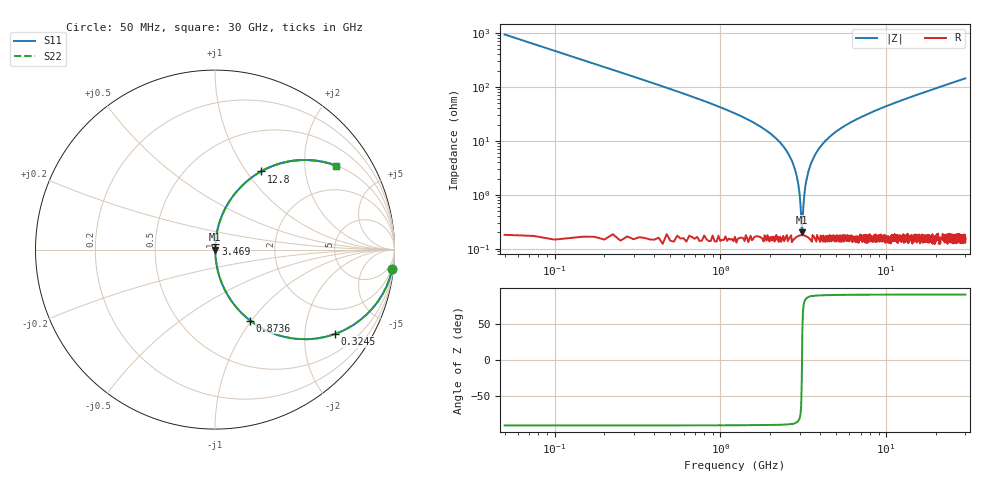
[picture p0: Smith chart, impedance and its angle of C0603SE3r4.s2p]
!	AVX Thin Film Operation 	Date: April 2014
!	Description: Accu-P® Series, Thin Film  SMD RF Capacitor
!	Part Number: 06031J3R4ABSTR
# MHZ S MA R 50
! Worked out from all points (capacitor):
!   1201 points, 50 MHz to 30 GHz, reference 50 ohm
!   read as one part in series: C = 3.4 pF near 199.8 MHz
!   lowest |Z| = 201 mohm at 3.095 GHz (marker M1)
!   series resonance near 3.105 GHz, so ESL is about 770 pH
!   S11 on the Smith chart (normalised r, x): 50 MHz: 1, -19; 324.5 MHz: 1.01, -2.85; 873.6 MHz: 1.00, -0.99; 3.469 GHz: 1.00, +0.07; 12.8 GHz: 1.00, +1.17; 30 GHz: 1.00, +2.88
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50  0.994 -6.1  0.106 83.9  0.106 83.9  0.994 -6.1
324.542  0.818 -35.0  0.574 54.9  0.574 54.9  0.818 -35.0
599.083  0.601 -53.0  0.798 36.9  0.798 36.9  0.601 -53.0
873.625  0.442 -63.6  0.896 26.2  0.896 26.2  0.442 -63.6
1472.625  0.239 -75.8  0.97 13.8  0.97 13.8  0.239 -75.8
2495.917  0.066 -84.9  0.996 3.8  0.996 3.8  0.066 -84.9
2795.417  0.032 -85.4  0.998 1.8  0.998 1.8  0.032 -85.4
2895.25  0.021 -84.6  0.998 1.2  0.998 1.2  0.021 -84.6
2995.083  0.011 -81.2  0.998 0.6  0.998 0.6  0.011 -81.2
3094.917  0.001815 -30.8  0.998 0.1  0.998 0.1  0.001815 -30.8
3194.75  0.008769 79.3  0.998 -0.5  0.998 -0.5  0.008769 79.3
3344.5  0.022 84.7  0.998 -1.3  0.998 -1.3  0.022 84.7
3469.292  0.034 85.4  0.998 -1.9  0.998 -1.9  0.034 85.4
4043.333  0.08 84.3  0.995 -4.6  0.995 -4.6  0.08 84.3
5041.667  0.15 80.8  0.987 -8.6  0.987 -8.6  0.15 80.8
7038.333  0.265 74.3  0.963 -15.4  0.963 -15.4  0.265 74.3
10058.29  0.404 66.0  0.913 -23.8  0.913 -23.8  0.404 66.0
12803.71  0.505 59.5  0.862 -30.3  0.862 -30.3  0.505 59.5
15025  0.572 55.0  0.819 -34.9  0.819 -34.9  0.572 55.0
20016.67  0.688 46.5  0.725 -43.5  0.725 -43.5  0.688 46.5
25033.29  0.767 39.8  0.641 -50.1  0.641 -50.1  0.767 39.8
30000  0.821 34.7  0.57 -55.2  0.57 -55.2  0.821 34.7
